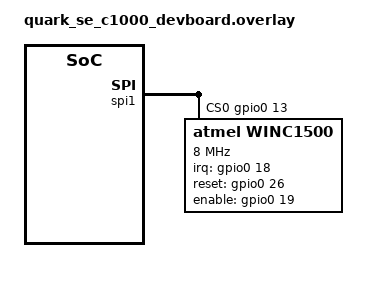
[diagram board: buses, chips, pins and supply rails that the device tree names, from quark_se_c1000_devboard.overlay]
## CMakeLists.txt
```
# SPDX-License-Identifier: Apache-2.0

cmake_minimum_required(VERSION 3.20.0)

find_package(Zephyr REQUIRED HINTS $ENV{ZEPHYR_BASE})
project(wifi)

FILE(GLOB app_sources src/*.c)
target_sources(app PRIVATE ${app_sources})
```

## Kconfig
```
mainmenu "Wi-Fi sample"

if WIFI_WINC1500

config WINC1500_GPIO_DRV_NAME
	string "GPIO device name"

config WINC1500_GPIO_CHIP_EN
	int "Pin number for Winc1500 CHIP_EN signal"

config WINC1500_GPIO_IRQN
	int "Pin number for Winc1500 IRQn signal"

config WINC1500_GPIO_RESET_N
	int "Pin number for Winc1500 RESET_N signal"

endif # WIFI_WINC1500


source "Kconfig.zephyr"
```

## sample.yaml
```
common:
  harness: net
  tags:
    - net
    - wifi
sample:
  description: Test wifi driver and APIs functionality
  name: WiFi sample app
tests:
  sample.net.wifi:
    platform_allow:
      - cc3220sf_launchxl
      - disco_l475_iot1
      - reel_board
    integration_platforms:
      - cc3220sf_launchxl
  sample.net.wifi.mikroe_wifi_bt_click:
    extra_args: SHIELD=mikroe_wifi_bt_click_mikrobus
    platform_allow: lpcxpresso55s69/lpc55s69/cpu0
  sample.net.wifi.esp_8266:
    extra_args: SHIELD=esp_8266
    platform_allow: sam4e_xpro
  sample.net.wifi.esp_8266_arduino:
    extra_args: SHIELD=esp_8266_arduino
    platform_allow:
      - frdm_k64f
      - disco_l475_iot1
    integration_platforms:
      - frdm_k64f
  sample.net.wifi.inventek_eswifi_arduino_uart:
    extra_args: SHIELD=inventek_eswifi_arduino_uart
    platform_allow:
      - frdm_k64f
      - nucleo_f767zi
    integration_platforms:
      - frdm_k64f
  sample.net.wifi.inventek_eswifi_arduino_spi:
    extra_args: SHIELD=inventek_eswifi_arduino_spi
    platform_allow:
      - frdm_k64f
      - nucleo_f767zi
    integration_platforms:
      - frdm_k64f
```

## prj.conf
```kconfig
CONFIG_EARLY_CONSOLE=y

CONFIG_NETWORKING=y
CONFIG_TEST_RANDOM_GENERATOR=y

CONFIG_NET_TX_STACK_SIZE=2048
CONFIG_NET_RX_STACK_SIZE=2048

CONFIG_NET_PKT_RX_COUNT=10
CONFIG_NET_PKT_TX_COUNT=10
CONFIG_NET_BUF_RX_COUNT=20
CONFIG_NET_BUF_TX_COUNT=20
CONFIG_NET_MAX_CONTEXTS=10
CONFIG_NET_DHCPV4=y

CONFIG_NET_IPV4=y
CONFIG_NET_IPV6=n

CONFIG_NET_TCP=y

CONFIG_NET_LOG=y
CONFIG_INIT_STACKS=y

CONFIG_NET_SHELL=y

CONFIG_NET_STATISTICS=y
CONFIG_NET_STATISTICS_PERIODIC_OUTPUT=n

CONFIG_WIFI=y
CONFIG_WIFI_LOG_LEVEL_ERR=y
CONFIG_NET_L2_WIFI_SHELL=y
# printing of scan results puts pressure on queues in new locking
# design in net_mgmt. So, use a higher timeout for a crowded
# environment.
CONFIG_NET_MGMT_EVENT_QUEUE_TIMEOUT=5000
CONFIG_NET_MGMT_EVENT_QUEUE_SIZE=16
```

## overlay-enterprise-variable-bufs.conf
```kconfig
CONFIG_WIFI_NM_WPA_SUPPLICANT_CRYPTO_ENTERPRISE=y
# EAP frames are ~1100 bytes, so, for efficiency, we set the data size to 1100
CONFIG_NET_BUF_DATA_SIZE=1100
# Use variable data size to reduce memory usage for small data packets
CONFIG_NET_BUF_VARIABLE_DATA_SIZE=y
# For TLS and X.509 processing MbedTLS needs large heap size and using separate heap
# for MbedTLS gives us more control over the heap size.
CONFIG_MBEDTLS_ENABLE_HEAP=y
CONFIG_MBEDTLS_HEAP_SIZE=55000
```

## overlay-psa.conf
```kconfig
CONFIG_WIFI_NM_WPA_SUPPLICANT_CRYPTO_MBEDTLS_PSA=y
```

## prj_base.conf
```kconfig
CONFIG_EARLY_CONSOLE=y

CONFIG_NETWORKING=y
CONFIG_TEST_RANDOM_GENERATOR=y

CONFIG_NET_TX_STACK_SIZE=2048
CONFIG_NET_RX_STACK_SIZE=2048

CONFIG_NET_PKT_RX_COUNT=10
CONFIG_NET_PKT_TX_COUNT=10
CONFIG_NET_BUF_RX_COUNT=20
CONFIG_NET_BUF_TX_COUNT=20
CONFIG_NET_MAX_CONTEXTS=10

CONFIG_NET_IPV4=y
CONFIG_NET_IPV6=n

CONFIG_NET_LOG=y
CONFIG_INIT_STACKS=y

CONFIG_NET_SHELL=y

CONFIG_NET_STATISTICS=y
CONFIG_NET_STATISTICS_PERIODIC_OUTPUT=n

CONFIG_WIFI=y
CONFIG_WIFI_LOG_LEVEL_ERR=y
CONFIG_NET_L2_WIFI_SHELL=y
```

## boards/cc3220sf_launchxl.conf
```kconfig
# Conf file to test the net_wifi shell module with the cc3220sf WiFi driver
# cmake .. -DBOARD=cc3220sf_launchxl
CONFIG_WIFI_SIMPLELINK=y
# Debugging
CONFIG_SYS_LOG_WIFI_LEVEL=4
CONFIG_DEBUG=y
```

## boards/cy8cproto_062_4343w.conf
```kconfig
CONFIG_NET_IF_MAX_IPV4_COUNT=2
CONFIG_NET_MGMT_EVENT_QUEUE_TIMEOUT=20
CONFIG_SYSTEM_WORKQUEUE_STACK_SIZE=2048
```

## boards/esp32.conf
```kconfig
CONFIG_WIFI=y
CONFIG_HEAP_MEM_POOL_SIZE=98304

CONFIG_NETWORKING=y
CONFIG_NET_L2_ETHERNET=y

CONFIG_NET_IPV6=n
CONFIG_NET_IPV4=y
CONFIG_NET_DHCPV4=y

CONFIG_NET_LOG=y
```

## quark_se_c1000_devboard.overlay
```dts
/* SPDX-License-Identifier: Apache-2.0 */


&spi1 {
	status = "okay";

	cs-gpios = <&gpio0 13 0>;

	winc1500@0 {
		status = "okay";
		compatible = "atmel,winc1500";
		reg = <0x0>;
		label = "winc1500";
		spi-max-frequency = <8000000>;
		irq-gpios = <&gpio0 18 0>;
		reset-gpios = <&gpio0 26 0>;
		enable-gpios = <&gpio0 19 0>;

	};
};
```

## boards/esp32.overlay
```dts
/*
 * Copyright (c) 2022 Espressif Systems (Shanghai) Co., Ltd.
 *
 * SPDX-License-Identifier: Apache-2.0
 */

&wifi {
	status = "okay";
};
```

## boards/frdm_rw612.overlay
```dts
/*
 * Copyright 2023 NXP
 *
 * SPDX-License-Identifier: Apache-2.0
 */

&standby {
	status = "okay";
};
```

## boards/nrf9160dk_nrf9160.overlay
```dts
/*
 * Copyright (c) 2021 grandcentrix GmbH
 *
 * SPDX-License-Identifier: Apache-2.0
 */

&pinctrl {
spi2_default_alt: spi2_default_alt {
			  group1 {
				  psels = <NRF_PSEL(SPIM_SCK, 0, 20)>,
					<NRF_PSEL(SPIM_MOSI, 0, 11)>;
			  };
			  group2 {
				  psels = <NRF_PSEL(SPIM_MISO, 0, 12)>;
				  bias-pull-down;
			  };
		  };
};

&i2c2 {
	status = "disabled";
};

&spi2 {
	compatible = "nordic,nrf-spim";
	status = "okay";
	clock-frequency = <10000000>;
	cs-gpios = <&gpio0 30 GPIO_ACTIVE_LOW>;
	pinctrl-0 = <&spi2_default_alt>;
	/delete-property/ pinctrl-1;
	pinctrl-names = "default";

	wfx200@0 {
		status = "ok";
		compatible = "silabs,wfx200";
		reg = <0>;
		label = "wifi0";
		spi-max-frequency = <1000000>;

		int-gpios = <&gpio0 31 GPIO_ACTIVE_HIGH>;
		reset-gpios = <&gpio0 13 GPIO_ACTIVE_LOW>;
		wake-gpios = <&gpio0 10 GPIO_ACTIVE_HIGH>;

		/* This quite complicated looking, jsonish data contains board
		 * specific configuration for the silabs wfm200s wifi exp board.
		 * The more human readable version can be found here:
		 * https://github.com/SiliconLabs/wfx-pds/blob/4165f0a512fd44f7bdbdea31b9f50798f56402de/BRD8023A_Rev_B00.pds.in
		 * All possible values can be found here:
		 * https://github.com/SiliconLabs/wfx-firmware/blob/74ba9143f48cc2d243f6d05374fa8d8d03674f8d/PDS/definitions.in
		 * This can be transformed into the at this point needed format
		 * using this python tool:
		 * https://github.com/SiliconLabs/wfx-linux-tools/blob/6fcc31741f564f40d1f6670ae1a5c47e8217f36e/pds_compress
		 * This precompiled version of this PDS has been copied from
		 * here:
		 * https://github.com/SiliconLabs/wfx-fullMAC-tools/blob/a8c600205491c490feb553218e04b00e8d397431/PDS/brd8023a_pds.h
		 */
		pds = "{a:{a:4,b:0}}",
		    "{b:{a:{a:4,b:0,c:0,d:0,e:A},b:{a:4,b:0,c:0,d:0,e:B},c:{a:4,b:0,c:0,d:0,e:C},d:{a:4,b:0,c:0,d:0,e:D},e:{a:4,b:0,c:0,d:0,e:E},f:{a:4,b:0,c:0,d:0,e:F},g:{a:4,b:0,c:0,d:0,e:G},h:{a:4,b:0,c:0,d:0,e:H},i:{a:4,b:0,c:0,d:0,e:I},j:{a:4,b:0,c:0,d:0,e:J},k:{a:4,b:0,c:0,d:0,e:K},l:{a:4,b:0,c:0,d:1,e:L},m:{a:4,b:0,c:0,d:1,e:M}}}",
		    "{c:{a:{a:4},b:{a:6},c:{a:6,c:0},d:{a:6},e:{a:6},f:{a:6}}}",
		    "{e:{b:0,c:1}}",
		    "{h:{e:0,a:50,b:0,d:0,c:[{a:1,b:[0,0,0,0,0,0]},{a:2,b:[0,0,0,0,0,0]},{a:[3,9],b:[0,0,0,0,0,0]},{a:A,b:[0,0,0,0,0,0]},{a:B,b:[0,0,0,0,0,0]},{a:[C,D],b:[0,0,0,0,0,0]},{a:E,b:[0,0,0,0,0,0]}]}}",
		    "{j:{a:0,b:0}}";
	};
};
```

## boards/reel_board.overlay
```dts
/*
 * Copyright (c) 2020 Phytec Messtechnik GmbH
 *
 * SPDX-License-Identifier: Apache-2.0
 */

&pinctrl {
	spi3_default_alt: spi3_default_alt {
		group1 {
			psels = <NRF_PSEL(SPIM_SCK, 1, 4)>,
				<NRF_PSEL(SPIM_MOSI, 1, 5)>,
				<NRF_PSEL(SPIM_MISO, 1, 6)>;
		};
	};

	spi3_sleep_alt: spi3_sleep_alt {
		group1 {
			psels = <NRF_PSEL(SPIM_SCK, 1, 4)>,
				<NRF_PSEL(SPIM_MOSI, 1, 5)>,
				<NRF_PSEL(SPIM_MISO, 1, 6)>;
			low-power-enable;
		};
	};
};

&spi3 {
	status = "ok";
	cs-gpios = <&gpio1 3 GPIO_ACTIVE_LOW>;
	pinctrl-0 = <&spi3_default_alt>;
	pinctrl-1 = <&spi3_sleep_alt>;
	pinctrl-names = "default", "sleep";

	winc1500@0 {
		status = "ok";
		compatible = "atmel,winc1500";
		reg = <0x0>;
		spi-max-frequency = <DT_FREQ_M(4)>;
		irq-gpios = <&gpio1 7 1>;
		reset-gpios = <&gpio1 8 1>;
		enable-gpios = <&gpio1 12 0>;

	};
};
```

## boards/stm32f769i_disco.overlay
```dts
/*
 * Copyright (c) 2020 Mohamed ElShahawi
 *
 * SPDX-License-Identifier: Apache-2.0
 */

 &uart5 {
	pinctrl-0 = <&uart5_tx_pc12 &uart5_rx_pd2>;
	current-speed = <115200>;
	status = "okay";
	esp8266 {
		compatible = "espressif,esp";
		label = "esp8266";
		reset-gpios = <&gpioj 14 GPIO_ACTIVE_LOW>;
		power-gpios = <&gpioh 7 GPIO_ACTIVE_HIGH>;
		status = "okay";
	};
};
```

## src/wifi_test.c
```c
/*
 * Copyright (c) 2016 Intel Corporation.
 *
 * SPDX-License-Identifier: Apache-2.0
 */

#include <zephyr/kernel.h>
#include <errno.h>

void main(void)
{

}
```
